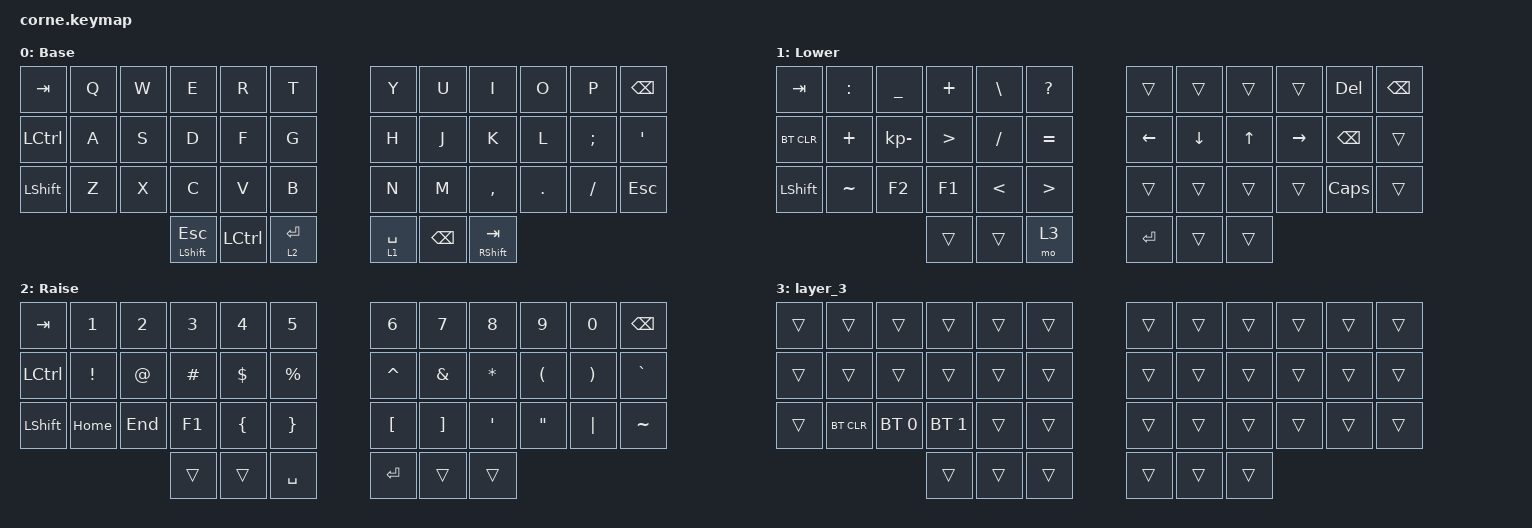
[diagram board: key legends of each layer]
/*
 * Copyright (c) 2020 The ZMK Contributors
 *
 * SPDX-License-Identifier: MIT
 */

#include <behaviors.dtsi>
#include <dt-bindings/zmk/bt.h>
#include <dt-bindings/zmk/keys.h>

/ {
    behaviors {
        ht: ht {
            compatible = "zmk,behavior-hold-tap";
            label = "HT";
            bindings = <&kp>, <&kp>;

            #binding-cells = <2>;
            tapping-term-ms = <200>;
            retro-tap;
        };

        htl: htl {
            compatible = "zmk,behavior-hold-tap";
            label = "HTL";
            bindings = <&mo>, <&kp>;

            #binding-cells = <2>;
            tapping-term-ms = <200>;
            retro-tap;
        };
    };

    macros {
        switch_widnow: switch_widnow {
            compatible = "zmk,behavior-macro";
            #binding-cells = <0>;
            bindings = <&kp LEFT_ALT &kp TAB>;
            label = "SWITCH_WIDNOW";
        };
    };

    keymap {
        compatible = "zmk,keymap";

        default_layer {
            // -----------------------------------------------------------------------------------------
            // |  TAB |  Q  |  W  |  E  |  R  |  T  |   |  Y  |  U   |  I  |  O  |  P  | BKSP |
            // | CTRL |  A  |  S  |  D  |  F  |  G  |   |  H  |  J   |  K  |  L  |  ;  |  '   |
            // | SHFT |  Z  |  X  |  C  |  V  |  B  |   |  N  |  M   |  ,  |  .  |  /  | ESC  |
            //                    | GUI | LWR | SPC |   | ENT | RSE  | ALT |

            label = "Base";
            bindings = <
&kp TAB    &kp Q  &kp W  &kp E               &kp R             &kp T           &kp Y        &kp U          &kp I                &kp O    &kp P     &kp BSPC
&kp LCTRL  &kp A  &kp S  &kp D               &kp F             &kp G           &kp H        &kp J          &kp K                &kp L    &kp SEMI  &kp SQT
&kp LSHFT  &kp Z  &kp X  &kp C               &kp V             &kp B           &kp N        &kp M          &kp COMMA            &kp DOT  &kp FSLH  &kp ESC
                         &mt LEFT_SHIFT ESC  &kp LEFT_CONTROL  &htl 2 ENTER    &lt 1 SPACE  &kp BACKSPACE  &mt RIGHT_SHIFT TAB
            >;
        };

        lower_layer {
            // -----------------------------------------------------------------------------------------
            // |  TAB |  1  |  2  |  3  |  4  |  5  |   |  6  |  7  |  8  |  9  |  0  | BKSP |
            // | BTCLR| BT1 | BT2 | BT3 | BT4 | BT5 |   | LFT | DWN |  UP | RGT |     |      |
            // | SHFT |     |     |     |     |     |   |     |     |     |     |     |      |
            //                    | GUI |     | SPC |   | ENT |     | ALT |

            label = "Lower";
            bindings = <
&kp TAB     &kp COLON  &kp UNDER     &kp PLUS          &kp BACKSLASH  &kp QUESTION        &trans    &trans    &trans  &trans     &kp DELETE     &kp BSPC
&bt BT_CLR  &kp PLUS   &kp KP_MINUS  &kp GREATER_THAN  &kp SLASH      &kp EQUAL           &kp LEFT  &kp DOWN  &kp UP  &kp RIGHT  &kp BACKSPACE  &trans
&kp LSHFT   &kp TILDE  &kp F2        &kp F1            &kp LESS_THAN  &kp GREATER_THAN    &trans    &trans    &trans  &trans     &kp CAPSLOCK   &trans
                                     &trans            &trans         &mo 3               &kp RET   &trans    &trans
            >;
        };

        raise_layer {
            // -----------------------------------------------------------------------------------------
            // |  TAB |  !  |  @  |  #  |  $  |  %  |   |  ^  |  &  |  *  |  (  |  )  | BKSP |
            // | CTRL |     |     |     |     |     |   |  -  |  =  |  [  |  ]  |  \  |  `   |
            // | SHFT |     |     |     |     |     |   |  _  |  +  |  {  |  }  | "|" |  ~   |
            //                    | GUI |     | SPC |   | ENT |     | ALT |

            label = "Raise";
            bindings = <
&kp TAB    &kp N1           &kp NUMBER_2  &kp NUMBER_3  &kp NUMBER_4    &kp NUMBER_5       &kp NUMBER_6      &kp NUMBER_7       &kp NUMBER_8  &kp NUMBER_9          &kp NUMBER_0           &kp BSPC
&kp LCTRL  &kp EXCLAMATION  &kp AT_SIGN   &kp HASH      &kp DOLLAR      &kp PERCENT        &kp CARET         &kp AMPERSAND      &kp ASTERISK  &kp LEFT_PARENTHESIS  &kp RIGHT_PARENTHESIS  &kp GRAVE
&kp LSHFT  &kp HOME         &kp END       &kp F1        &kp LEFT_BRACE  &kp RIGHT_BRACE    &kp LEFT_BRACKET  &kp RIGHT_BRACKET  &kp SQT       &kp DOUBLE_QUOTES     &kp PIPE               &kp TILDE
                                          &trans        &trans          &kp SPACE          &kp RET           &trans             &trans
            >;
        };

        layer_3 {
            bindings = <
&trans  &trans      &trans        &trans        &trans  &trans    &trans  &trans  &trans  &trans  &trans  &trans
&trans  &trans      &trans        &trans        &trans  &trans    &trans  &trans  &trans  &trans  &trans  &trans
&trans  &bt BT_CLR  &bt BT_SEL 0  &bt BT_SEL 1  &trans  &trans    &trans  &trans  &trans  &trans  &trans  &trans
                                  &trans        &trans  &trans    &trans  &trans  &trans
            >;
        };
    };
};
